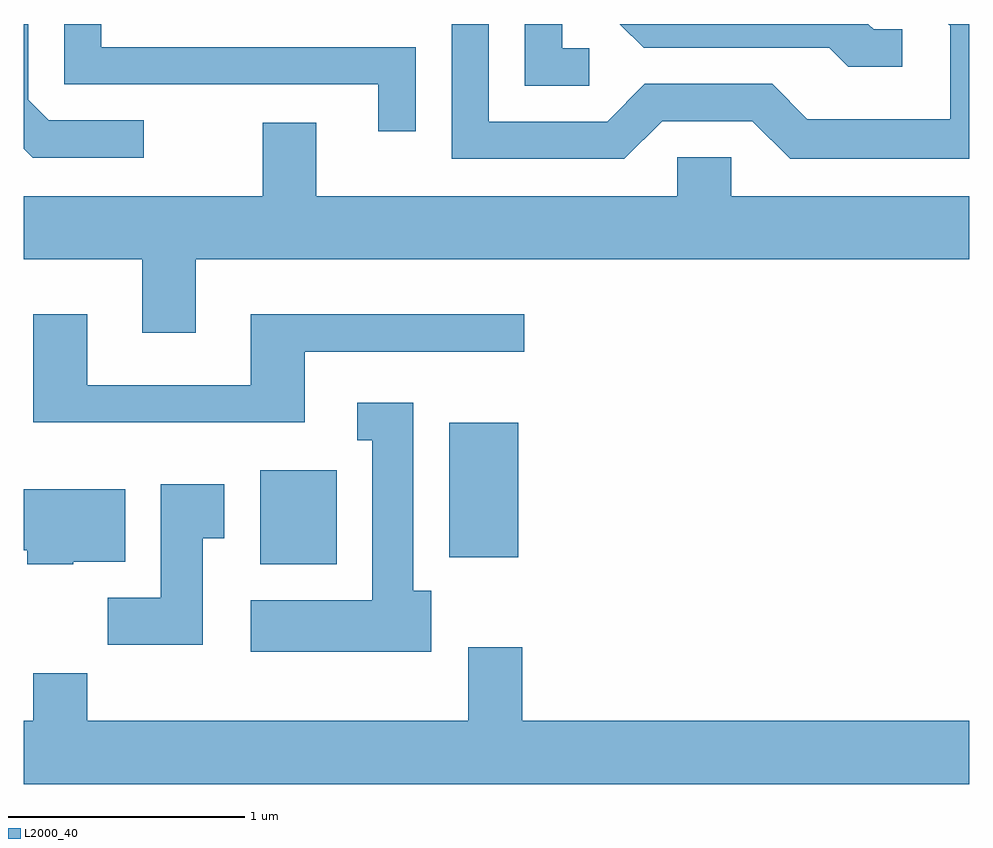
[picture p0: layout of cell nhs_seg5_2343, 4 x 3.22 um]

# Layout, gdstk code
import gdstk
lib = gdstk.Library(unit=1e-6, precision=1e-09)
def R(c, l, rs):  # rectangles x0, y0, x1, y1
    for r in rs: c.add(gdstk.rectangle(r[:2], r[2:], *l))
def P(c, l, *ps):  # polygons
    for p in ps: c.add(gdstk.Polygon(p, *l))
L2000_40 = (2000, 40)

nhs_seg5_2343 = lib.new_cell('nhs_seg5_2343')
R(nhs_seg5_2343, L2000_40, [(256.611,1397.786,256.934,1398.184), (257.411,1397.816,257.704,1398.384)])
P(nhs_seg5_2343, L2000_40, [(258.312,1399.661),(258.694,1399.661),(258.854,1399.501),(259.611,1399.501),(259.611,1400.072),(259.523,1400.072),(259.531,1400.064),(259.531,1399.669),(258.927,1399.669),(258.777,1399.819),(258.239,1399.819),(258.079,1399.659),(257.579,1399.659),(257.579,1400.072),(257.421,1400.072),(257.421,1399.501),(258.152,1399.501)],
  [(257.269,1399.974),(255.939,1399.974),(255.939,1400.072),(255.781,1400.072),(255.781,1399.816),(257.111,1399.816),(257.111,1399.618),(257.269,1399.618)],
  [(256.118,1399.664),(255.717,1399.664),(255.629,1399.752),(255.629,1400.072),(255.611,1400.072),(255.611,1399.544),(255.649,1399.506),(256.118,1399.506)],
  [(259.328,1400.049),(259.207,1400.049),(259.184,1400.072),(258.133,1400.072),(258.234,1399.971),(259.019,1399.971),(259.099,1399.891),(259.328,1399.891)],
  [(258.003,1399.969),(257.889,1399.969),(257.889,1400.072),(257.731,1400.072),(257.731,1399.811),(258.003,1399.811)],
  [(256.339,1399.076),(259.611,1399.076),(259.611,1399.344),(258.604,1399.344),(258.604,1399.509),(258.376,1399.509),(258.376,1399.344),(256.849,1399.344),(256.849,1399.654),(256.621,1399.654),(256.621,1399.344),(255.611,1399.344),(255.611,1399.076),(256.111,1399.076),(256.111,1398.766),(256.339,1398.766)],
  [(256.799,1398.686),(257.728,1398.686),(257.728,1398.844),(256.571,1398.844),(256.571,1398.544),(255.879,1398.544),(255.879,1398.844),(255.651,1398.844),(255.651,1398.386),(256.799,1398.386)],
  [(257.334,1397.674),(257.259,1397.674),(257.259,1398.469),(257.022,1398.469),(257.022,1398.311),(257.086,1398.311),(257.086,1397.634),(256.571,1397.634),(256.571,1397.416),(257.334,1397.416)],
  [(256.369,1397.896),(256.459,1397.896),(256.459,1398.124),(256.191,1398.124),(256.191,1397.644),(255.966,1397.644),(255.966,1397.446),(256.369,1397.446)],
  [(255.82,1397.796),(256.039,1397.796),(256.039,1398.104),(255.611,1398.104),(255.611,1397.846),(255.626,1397.846),(255.626,1397.786),(255.82,1397.786)],
  [(259.611,1397.124),(257.719,1397.124),(257.719,1397.434),(257.491,1397.434),(257.491,1397.124),(255.879,1397.124),(255.879,1397.324),(255.651,1397.324),(255.651,1397.124),(255.611,1397.124),(255.611,1396.856),(259.611,1396.856)])

lib.write_gds('nhs_seg5_2343.gds')
